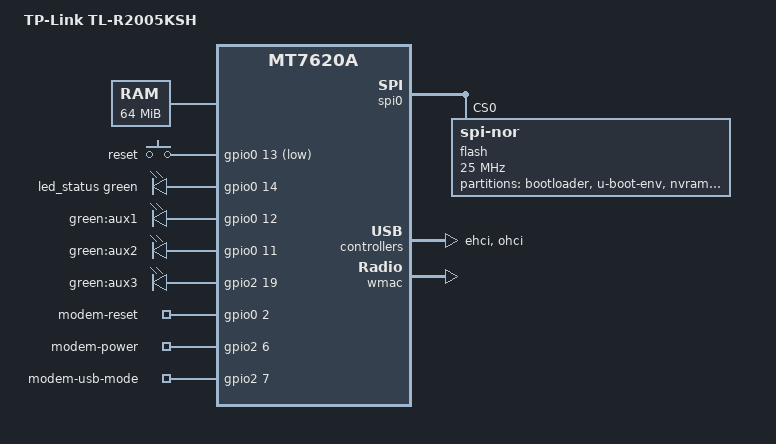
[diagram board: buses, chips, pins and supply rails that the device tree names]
// SPDX-License-Identifier: GPL-2.0-or-later OR MIT
/*
 * TP-Link TL-R2005KSH / TELESQUARE LTE router (board: TLR-2005KSH)
 *
 * SoC:    MediaTek MT7620A (MIPS 24KEc, 620 MHz)
 * RAM:    64 MiB DDR2
 * Flash:  Winbond W25Q256 (32 MiB SPI-NOR, 4 KiB erase, 25 MHz)
 * NET:    MT7620A internal 5-port 10/100 switch; WAN at ESW port 4,
 *         LAN jacks wired in reverse (LAN1=port3 ... LAN4=port0)
 * USB:    USB 2.0 host -> internal Qualcomm Gobi LTE module (GobiNet on the
 *         stock firmware, behind an internal 4-port hub)
 * WiFi:   MT7620A internal 2.4 GHz only (no 5 GHz, no mini-PCIe populated)
 * UART:   uartlite (0x10000c00) at 57600 baud is the console
 *
 * GPIO map recovered from the stock firmware:
 *   /usr/sbin/tlsq/bmon           board monitor: LEDs, reset button, modem
 *                                 power/reset, USB mode strap, watchdog
 *   /usr/sbin/tlsq/modem_hw_reset, dload_modem_reset.sh, pantech_qmi_modem.sh
 *   /sbin/config.sh               build config: CONFIG_WAN_AT_P4=y,
 *                                 CONFIG_MODEL_TLR2005KSH=y,
 *                                 CONFIG_PRODUCT_TELESQUARE=y,
 *                                 CONFIG_RT_3052_ESW=y
 *
 * Flash map (offsets verified against a 32 MiB dump):
 *   0x000000  bootloader      Breed 1.1 (256 KiB)
 *   0x040000  u-boot-env      vendor env text (4-byte header + key=value)
 *   0x042000  nvram           vendor config, CRC32-LE header, 16 KiB block
 *   0x060000  factory         base MAC at +0x04 (rest erased, no eeprom)
 *   0x080000  firmware        kernel + rootfs  (vendor "Image1")
 *   0x1000000 firmware2       vendor backup image ("Image2", identical)
 *   0x1800000 storage         unused tail (erased)
 *   0x1ff0000 reserved        last sector (erased)
 */

/dts-v1/;

#include "mt7620a.dtsi"

#include <dt-bindings/gpio/gpio.h>
#include <dt-bindings/input/input.h>
#include <dt-bindings/leds/common.h>

/ {
	compatible = "tplink,tl-r2005ksh", "ralink,mt7620a-soc";
	model = "TP-Link TL-R2005KSH";

	aliases {
		label-mac-device = &ethernet;

		led-boot = &led_status;
		led-failsafe = &led_status;
		led-running = &led_status;
		led-upgrade = &led_status;
	};

	chosen {
		/*
		 * Stock firmware bootargs were
		 *   "console=ttyS1,57600n8 root=/dev/ram0 console=ttyS0"
		 * on its 2.6.36 kernel, where 8250 ttyS1 = 0x10000c00 (uartlite).
		 * mt7620a.dtsi aliases serial0 to &uartlite, so that UART is
		 * ttyS0 in modern kernels - keep 57600 baud.
		 */
		bootargs = "console=ttyS0,57600";
	};

	memory@0 {
		device_type = "memory";
		reg = <0x0 0x4000000>;		/* 64 MiB DDR2 */
	};

	keys {
		compatible = "gpio-keys";

		/*
		 * bmon: gpio_direction_set(13, input) at init, then
		 * gpio_get(13) == 0 counts up; when the count reaches 6 the
		 * "Factory_Reset_Check" path runs -> active low.
		 */
		reset {
			label = "reset";
			gpios = <&gpio0 13 GPIO_ACTIVE_LOW>;
			linux,code = <KEY_RESTART>;
		};
	};

	leds {
		compatible = "gpio-leds";

		/*
		 * Four GPIO status LEDs, driven through bmon's LED helper
		 * (led_set(group, index, value) -> gpio_set()):
		 *   (0,0)=GPIO14   (0,1)=GPIO12   (1,0)=GPIO59   (1,1)=GPIO11
		 *
		 * bmon drives GPIO14 = 1 and the other three = 0 on start and
		 * all four = 0 on stop, so GPIO14 is the "power/status" LED
		 * that stays lit while the device runs (hence GPIO_ACTIVE_HIGH;
		 * flip to ACTIVE_LOW if the LEDs behave inverted on hardware).
		 * Which silkscreen label the other three carry (WAN / WiFi /
		 * LTE) is not encoded anywhere in the firmware - identify them
		 * by toggling each LED from userspace.
		 */
		led_status: status {
			function = LED_FUNCTION_STATUS;
			color = <LED_COLOR_ID_GREEN>;
			gpios = <&gpio0 14 GPIO_ACTIVE_HIGH>;
			default-state = "on";
		};

		led_aux1: aux1 {
			label = "green:aux1";
			gpios = <&gpio0 12 GPIO_ACTIVE_HIGH>;
		};

		led_aux2: aux2 {
			label = "green:aux2";
			gpios = <&gpio0 11 GPIO_ACTIVE_HIGH>;
		};

		led_aux3: aux3 {
			label = "green:aux3";
			gpios = <&gpio2 19 GPIO_ACTIVE_HIGH>;
		};
	};

	/*
	 * LTE module control lines (driven by bmon) exported as plain GPIOs so
	 * the modem can be power-cycled from userspace:
	 *   modem-reset     - pulse 0 for ~1 s, then back to 1 (bmon's
	 *                     gct_modem_reset, dload_modem_reset.sh)
	 *   modem-power     - driven 1 together with the reset line
	 *   modem-usb-mode  - 1 = "USB NORMAL MODE" (bmon logs "USB NORMAL
	 *                     MODE ON !!!"; pantech_qmi_modem.sh toggles the
	 *                     same line around modem firmware download)
	 */
	gpio-export {
		compatible = "gpio-export";

		modem-reset {
			gpio-export,name = "modem-reset";
			gpio-export,output = <1>;
			gpios = <&gpio0 2 GPIO_ACTIVE_HIGH>;
		};

		modem-power {
			gpio-export,name = "modem-power";
			gpio-export,output = <1>;
			gpios = <&gpio2 6 GPIO_ACTIVE_HIGH>;
		};

		modem-usb-mode {
			gpio-export,name = "modem-usb-mode";
			gpio-export,output = <1>;
			gpios = <&gpio2 7 GPIO_ACTIVE_HIGH>;
		};
	};
};

&spi0 {
	status = "okay";

	flash@0 {
		compatible = "jedec,spi-nor";
		reg = <0>;
		spi-max-frequency = <25000000>;
		m25p,fast-read;

		partitions {
			compatible = "fixed-partitions";
			#address-cells = <1>;
			#size-cells = <1>;

			partition@0 {
				label = "bootloader";
				reg = <0x0 0x40000>;
				read-only;
			};

			/* vendor env text: 4-byte header + "bootcmd=tftp" ... */
			partition@40000 {
				label = "u-boot-env";
				reg = <0x40000 0x2000>;
				read-only;
			};

			/* vendor config database, CRC32-LE over the remaining
			 * 16380 bytes of the 16 KiB block (see README.md).
			 * Contains login/password digest, WAN settings, ... */
			partition@42000 {
				label = "nvram";
				reg = <0x42000 0x4000>;
				read-only;
			};

			/*
			 * Base MAC address at +0x04 (d8:19:ce:02:7a:d5),
			 * everything else erased.  The stock image has no
			 * MT7620 eeprom in flash - the 2.4 GHz calibration is
			 * taken from the SoC efuse.  If WiFi does not come up,
			 * write a 512-byte eeprom here (MAC at 0x4) and
			 * uncomment the nvmem-cells in &wmac below.
			 */
			factory: partition@60000 {
				label = "factory";
				reg = <0x60000 0x1000>;
				read-only;

				nvmem-layout {
					compatible = "fixed-layout";
					#address-cells = <1>;
					#size-cells = <1>;

					eeprom_factory_0: eeprom@0 {
						reg = <0x0 0x200>;
					};

					macaddr_factory_4: macaddr@4 {
						reg = <0x4 0x6>;
					};
				};
			};

			/*
			 * Vendor "Image1": kernel (uImage, LZMA, load
			 * 0x80000000) with the root filesystem embedded as an
			 * XZ-compressed initramfs, followed by the JFFS2
			 * config partition at 0xE00000.
			 *
			 * OpenWrt: kernel + squashfs rootfs + rootfs_data.
			 */
			partition@80000 {
				compatible = "denx,uimage";
				label = "firmware";
				reg = <0x80000 0xf80000>;
			};

			/*
			 * Vendor "Image2" - a second, byte-identical kernel at
			 * 0x1080000 used as a recovery copy by the stock
			 * bootloader.  Not used by OpenWrt, but keep it: it is
			 * the easiest way back to stock firmware (copy it back
			 * to 0x80000 from the bootloader).
			 */
			partition@1000000 {
				label = "firmware2";
				reg = <0x1000000 0x800000>;
				read-only;
			};

			/* unused, erased tail of the flash */
			partition@1800000 {
				label = "storage";
				reg = <0x1800000 0x7f0000>;
			};

			partition@1ff0000 {
				label = "reserved";
				reg = <0x1ff0000 0x10000>;
				read-only;
			};
		};
	};
};

&ethernet {
	pinctrl-names = "default";
	pinctrl-0 = <&ephy_pins>;

	nvmem-cells = <&macaddr_factory_4>;
	nvmem-cell-names = "mac-address";

	/* 4x LAN + 1x WAN: /sbin/config.sh has CONFIG_WAN_AT_P4=y and the SDK
	 * calls config-vlan.sh 3 LLLLW (WAN at ESW port 4) */
	mediatek,portmap = "llllw";
};

&gpio2 {
	status = "okay";		/* GPIO 46/47/59 (modem + LED) */
};

&ehci {
	status = "okay";
};

&ohci {
	status = "okay";
};

/*
 * The second UART (&uart, 0x10000500) is intentionally left disabled: the
 * stock firmware registered it as ttyS0 but never used it, and its pins share
 * the "uartf" group with the LED/reset-button GPIOs 11-14 that this board
 * needs as GPIOs.
 */

&wmac {
	pinctrl-names = "default", "pa_gpio";
	pinctrl-0 = <&pa_pins>;
	pinctrl-1 = <&pa_gpio_pins>;

	/*
	 * No eeprom on flash (see factory partition).  Uncomment if the
	 * factory partition gets populated with a real 512-byte eeprom:
	 *
	 * nvmem-cells = <&eeprom_factory_0>;
	 * nvmem-cell-names = "eeprom";
	 */
};

&pcie {
	status = "disabled";
};

&pinctrl {
	state_default: pinctrl0 {
		/*
		 * GPIOs used by this board:
		 *   GPIO 2         modem reset               (i2c group)
		 *   GPIO 11-14     LEDs + reset button       (uartf group)
		 *   GPIO 46/47/59  modem power/mode, LED     (bank 2 groups)
		 * Free every group that is not used for its original function.
		 * "spi" (flash), "uartlite" (console), "ephy" (ethernet) and
		 * "pa" (WiFi PA) are intentionally left alone.
		 */
		gpio {
			groups = "i2c", "uartf", "pcie", "rgmii1", "rgmii2",
				 "wled", "nd_sd";
			function = "gpio";
		};
	};
};
